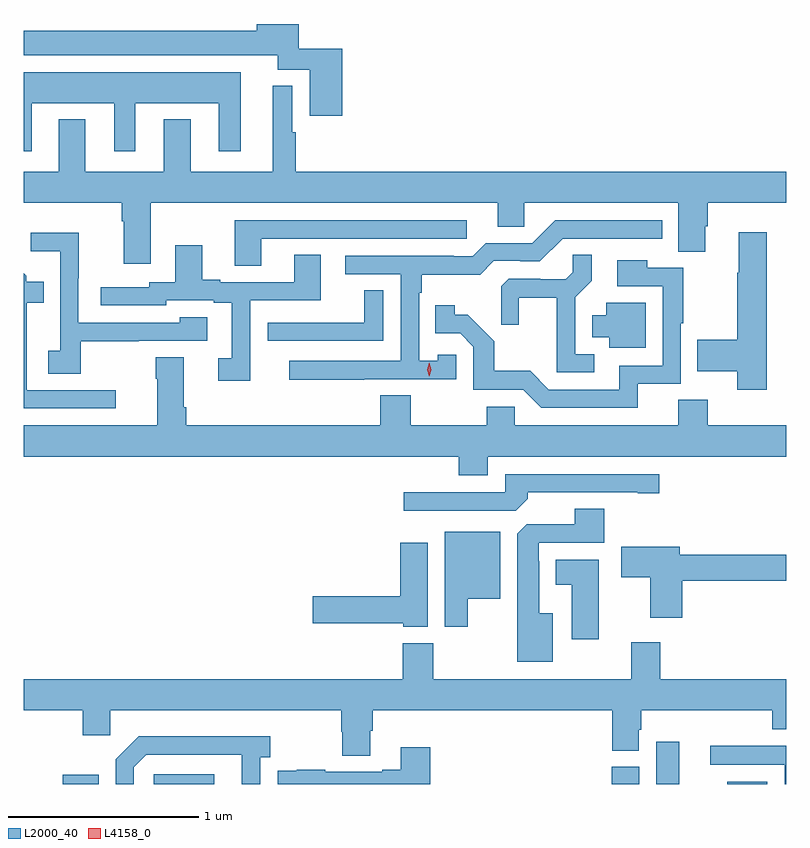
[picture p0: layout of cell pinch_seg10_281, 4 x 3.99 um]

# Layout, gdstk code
import gdstk
lib = gdstk.Library(unit=1e-6, precision=1e-09)
def R(c, l, rs):  # rectangles x0, y0, x1, y1
    for r in rs: c.add(gdstk.rectangle(r[:2], r[2:], *l))
def P(c, l, *ps):  # polygons
    for p in ps: c.add(gdstk.Polygon(p, *l))
L2000_40 = (2000, 40)
L4158_0 = (4158, 0)

pinch_seg10_281 = lib.new_cell('pinch_seg10_281')
R(pinch_seg10_281, L2000_40, [(491.03,1305.258,491.218,1305.307), (491.508,1305.258,491.824,1305.309), (493.91,1305.258,494.056,1305.348), (494.144,1305.258,494.266,1305.481), (494.516,1305.258,494.728,1305.271)])
P(pinch_seg10_281, L2000_40, [(492.497,1309.117),(492.268,1309.117),(492.268,1309.246),(492.047,1309.246),(492.047,1309.21),(490.826,1309.21),(490.826,1309.082),(492.158,1309.082),(492.158,1309.007),(492.326,1309.007),(492.326,1308.765),(492.497,1308.765)],
  [(490.867,1308.83),(491.3,1308.83),(491.3,1308.579),(491.41,1308.579),(491.41,1308.83),(491.849,1308.83),(491.849,1308.579),(491.965,1308.579),(491.965,1308.994),(490.826,1308.994),(490.826,1308.579),(490.867,1308.579)],
  [(491.491,1308.308),(493.313,1308.308),(493.313,1308.181),(493.452,1308.181),(493.452,1308.308),(494.261,1308.308),(494.261,1308.052),(494.401,1308.052),(494.401,1308.186),(494.414,1308.186),(494.414,1308.308),(494.826,1308.308),(494.826,1308.472),(492.253,1308.472),(492.253,1308.677),(492.235,1308.677),(492.235,1308.922),(492.131,1308.922),(492.131,1308.472),(491.701,1308.472),(491.701,1308.745),(491.561,1308.745),(491.561,1308.472),(491.149,1308.472),(491.149,1308.745),(491.009,1308.745),(491.009,1308.472),(490.826,1308.472),(490.826,1308.308),(491.339,1308.308),(491.339,1308.212),(491.351,1308.212),(491.351,1307.988),(491.491,1307.988)],
  [(492.611,1307.382),(493.095,1307.382),(493.095,1307.511),(492.999,1307.511),(492.999,1307.479),(492.9,1307.479),(492.9,1307.837),(492.913,1307.837),(492.913,1307.93),(493.22,1307.93),(493.293,1308.003),(493.432,1308.003),(493.432,1308),(493.533,1308),(493.653,1308.12),(494.176,1308.12),(494.176,1308.216),(493.614,1308.216),(493.494,1308.096),(493.251,1308.096),(493.182,1308.027),(493.082,1308.027),(493.082,1308.03),(492.513,1308.03),(492.513,1307.934),(492.804,1307.934),(492.804,1307.478),(492.219,1307.478),(492.219,1307.38),(492.611,1307.38)],
  [(492.073,1308.12),(493.15,1308.12),(493.15,1308.216),(491.933,1308.216),(491.933,1307.977),(492.073,1307.977)],
  [(494.723,1308.154),(494.576,1308.154),(494.576,1307.941),(494.569,1307.941),(494.569,1307.589),(494.359,1307.589),(494.359,1307.423),(494.569,1307.423),(494.569,1307.328),(494.723,1307.328)],
  [(491.125,1307.581),(491.429,1307.581),(491.429,1307.583),(491.788,1307.583),(491.788,1307.707),(491.643,1307.707),(491.643,1307.679),(491.112,1307.679),(491.112,1307.912),(491.115,1307.912),(491.115,1308.151),(490.863,1308.151),(490.863,1308.053),(491.016,1308.053),(491.016,1307.532),(490.953,1307.532),(490.953,1307.41),(491.125,1307.41)],
  [(492.015,1307.796),(492.385,1307.796),(492.385,1308.035),(492.245,1308.035),(492.245,1307.892),(491.857,1307.892),(491.857,1307.905),(491.761,1307.905),(491.761,1308.085),(491.621,1308.085),(491.621,1307.892),(491.484,1307.892),(491.484,1307.865),(491.229,1307.865),(491.229,1307.769),(491.574,1307.769),(491.574,1307.796),(491.822,1307.796),(491.822,1307.784),(491.918,1307.784),(491.918,1307.493),(491.847,1307.493),(491.847,1307.373),(492.015,1307.373)],
  [(493.819,1307.514),(493.719,1307.514),(493.719,1307.813),(493.805,1307.899),(493.805,1308.035),(493.707,1308.035),(493.707,1307.944),(493.67,1307.907),(493.536,1307.907),(493.536,1307.91),(493.371,1307.91),(493.33,1307.869),(493.33,1307.667),(493.424,1307.667),(493.424,1307.81),(493.622,1307.81),(493.622,1307.418),(493.819,1307.418)],
  [(494.048,1307.358),(494.274,1307.358),(494.274,1307.677),(494.287,1307.677),(494.287,1307.967),(494.097,1307.967),(494.097,1308.007),(493.941,1308.007),(493.941,1307.871),(494.178,1307.871),(494.178,1307.454),(493.949,1307.454),(493.949,1307.328),(493.581,1307.328),(493.483,1307.427),(493.294,1307.427),(493.294,1307.582),(493.156,1307.72),(493.086,1307.72),(493.086,1307.77),(492.985,1307.77),(492.985,1307.622),(493.116,1307.622),(493.185,1307.553),(493.185,1307.328),(493.446,1307.328),(493.542,1307.232),(494.048,1307.232)],
  [(491.308,1307.325),(490.84,1307.325),(490.84,1307.784),(490.931,1307.784),(490.931,1307.893),(490.839,1307.893),(490.839,1307.925),(490.826,1307.938),(490.826,1307.229),(491.308,1307.229)],
  [(492.711,1307.849),(492.613,1307.849),(492.613,1307.679),(492.217,1307.679),(492.217,1307.678),(492.105,1307.678),(492.105,1307.583),(492.711,1307.583)],
  [(494.089,1307.782),(493.883,1307.782),(493.883,1307.719),(493.808,1307.719),(493.808,1307.603),(493.898,1307.603),(493.898,1307.546),(494.089,1307.546)],
  [(493.261,1306.976),(494.826,1306.976),(494.826,1307.14),(494.414,1307.14),(494.414,1307.273),(494.261,1307.273),(494.261,1307.14),(493.401,1307.14),(493.401,1307.238),(493.255,1307.238),(493.255,1307.14),(492.855,1307.14),(492.855,1307.297),(492.695,1307.297),(492.695,1307.14),(491.678,1307.14),(491.678,1307.236),(491.665,1307.236),(491.665,1307.497),(491.518,1307.497),(491.518,1307.384),(491.525,1307.384),(491.525,1307.14),(490.826,1307.14),(490.826,1306.976),(493.109,1306.976),(493.109,1306.877),(493.261,1306.877)],
  [(493.469,1306.754),(493.469,1306.788),(494.048,1306.788),(494.048,1306.783),(494.161,1306.783),(494.161,1306.884),(493.353,1306.884),(493.353,1306.788),(492.819,1306.788),(492.819,1306.692),(493.407,1306.692)],
  [(493.6,1306.153),(493.531,1306.153),(493.531,1306.427),(493.527,1306.427),(493.527,1306.524),(493.871,1306.524),(493.871,1306.703),(493.718,1306.703),(493.718,1306.62),(493.464,1306.62),(493.415,1306.571),(493.415,1305.899),(493.6,1305.899)],
  [(493.156,1306.229),(493.327,1306.229),(493.327,1306.582),(493.034,1306.582),(493.034,1306.083),(493.156,1306.083)],
  [(492.946,1306.525),(492.8,1306.525),(492.8,1306.244),(492.342,1306.244),(492.342,1306.102),(492.816,1306.102),(492.816,1306.082),(492.946,1306.082)],
  [(494.282,1306.324),(494.826,1306.324),(494.826,1306.46),(494.269,1306.46),(494.269,1306.504),(493.962,1306.504),(493.962,1306.342),(494.114,1306.342),(494.114,1306.131),(494.282,1306.131)],
  [(493.843,1306.435),(493.616,1306.435),(493.616,1306.304),(493.7,1306.304),(493.7,1306.017),(493.843,1306.017)],
  [(492.643,1305.538),(492.656,1305.538),(492.656,1305.644),(493.913,1305.644),(493.913,1305.433),(494.053,1305.433),(494.053,1305.543),(494.066,1305.543),(494.066,1305.644),(494.753,1305.644),(494.753,1305.545),(494.826,1305.545),(494.826,1305.808),(494.165,1305.808),(494.165,1306.003),(494.012,1306.003),(494.012,1305.808),(492.975,1305.808),(492.975,1305.997),(492.815,1305.997),(492.815,1305.808),(490.826,1305.808),(490.826,1305.644),(491.134,1305.644),(491.134,1305.513),(491.28,1305.513),(491.28,1305.644),(492.491,1305.644),(492.491,1305.531),(492.496,1305.531),(492.496,1305.406),(492.643,1305.406)],
  [(491.403,1305.345),(491.469,1305.411),(491.969,1305.411),(491.969,1305.258),(492.066,1305.258),(492.066,1305.398),(492.118,1305.398),(492.118,1305.508),(491.428,1305.508),(491.307,1305.387),(491.307,1305.258),(491.403,1305.258)],
  [(494.826,1305.458),(494.427,1305.458),(494.427,1305.36),(494.819,1305.36),(494.819,1305.258),(494.826,1305.258)],
  [(492.959,1305.451),(492.803,1305.451),(492.803,1305.334),(492.707,1305.334),(492.707,1305.321),(492.407,1305.321),(492.407,1305.334),(492.259,1305.334),(492.259,1305.327),(492.157,1305.327),(492.157,1305.258),(492.959,1305.258)])
P(pinch_seg10_281, L4158_0, [(492.953,1307.397),(492.953,1307.398),(492.944,1307.433),(492.953,1307.469),(492.953,1307.469),(492.954,1307.469),(492.963,1307.433),(492.954,1307.398)])

lib.write_gds('pinch_seg10_281.gds')
